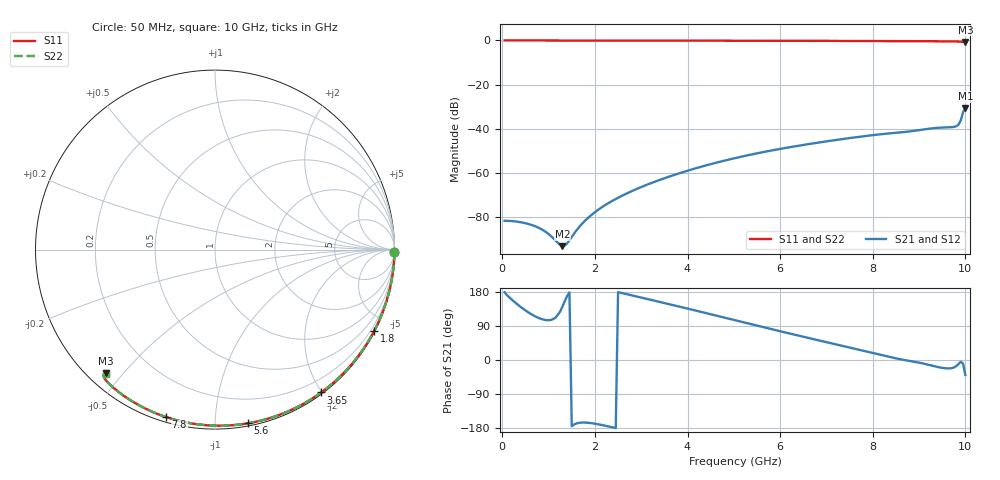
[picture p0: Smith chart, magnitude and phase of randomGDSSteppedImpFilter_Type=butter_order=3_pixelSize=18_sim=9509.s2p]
! freq	dB(S11)	phase(S11)	dB(S12)	phase(S12)
!  dB(S21)	phase(S21)	dB(S22)	phase(S22)
!S-par simulation data
#  GHz  S  DB  R 50
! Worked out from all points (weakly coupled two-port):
!   200 points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, 50 MHz to 10 GHz, reference 50 ohm
!   highest |S21| = -30.69 dB at 10 GHz (marker M1); lowest = -93.0 dB at 1.3 GHz (marker M2)
!   lowest |S11| = -0.7 dB at 10 GHz (marker M3), VSWR 23.96, Z = 2.51 - j22.5 ohm
!   |S11| at or under -10 dB: nowhere
!   |S22| runs from -0.7 to 0.0 dB; largest |S21 - S12| = 0
!   S11 on the Smith chart (normalised r, x): 50 MHz: open; 1.8 GHz: 0.04, -4.18; 3.65 GHz: 0.02, -1.99; 5.6 GHz: 0.02, -1.21; 7.8 GHz: 0.02, -0.75; 10 GHz: 0.05, -0.45
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0.05  -0.00 -0.8  -81.52 178.8  -81.52 178.8  -0.00 -0.8
0.65  -0.01 -9.8  -83.53 119.1  -83.53 119.1  -0.01 -9.9
1.3  -0.02 -19.6  -93.01 141.2  -93.01 141.2  -0.02 -19.6
1.75  -0.03 -26.2  -82.26 -165.0  -82.26 -165.0  -0.03 -26.2
1.8  -0.03 -26.9  -81.21 -165.1  -81.21 -165.1  -0.03 -27.0
1.85  -0.04 -27.7  -80.23 -165.6  -80.23 -165.6  -0.04 -27.7
2.2  -0.04 -32.8  -74.73 -172.8  -74.73 -172.8  -0.04 -32.8
2.55  -0.05 -37.8  -70.57 177.6  -70.57 177.6  -0.05 -37.9
2.95  -0.06 -43.5  -66.71 166.2  -66.71 166.2  -0.06 -43.6
3.4  -0.07 -49.9  -63.04 153.2  -63.04 153.2  -0.07 -49.9
3.65  -0.07 -53.4  -61.23 146.0  -61.23 146.0  -0.07 -53.4
4.3  -0.09 -62.2  -57.06 126.8  -57.06 126.8  -0.09 -62.3
5.05  -0.11 -72.2  -53.08 104.3  -53.08 104.3  -0.11 -72.3
5.6  -0.13 -79.3  -50.61 87.8  -50.61 87.8  -0.13 -79.4
6.7  -0.18 -93.1  -46.57 55.6  -46.57 55.6  -0.18 -93.1
7.8  -0.25 -106.3  -43.32 24.2  -43.32 24.2  -0.25 -106.4
8.35  -0.29 -112.7  -42.02 8.4  -42.02 8.4  -0.29 -112.8
9.8  -0.46 -129.9  -38.81 -16.5  -38.81 -16.5  -0.46 -130.0
9.85  -0.49 -130.6  -38.08 -10.9  -38.08 -10.9  -0.50 -130.8
9.9  -0.56 -131.4  -36.15 -4.6  -36.15 -4.6  -0.58 -131.6
9.95  -0.68 -131.7  -32.44 -9.7  -32.44 -9.7  -0.72 -131.8
10  -0.73 -131.4  -30.69 -39.5  -30.69 -39.5  -0.74 -131.3
